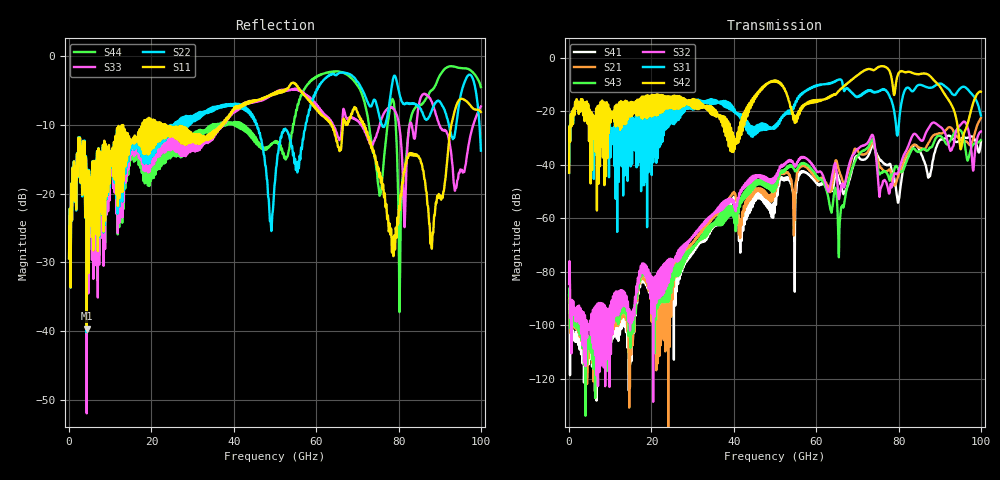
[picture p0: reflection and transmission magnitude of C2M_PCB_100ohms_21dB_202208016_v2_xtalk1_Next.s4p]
! Info: Touchstone file created by Circ.  Input file=Intel_C2M_200G_8p0in_202208016_staggered.circ
# Hz S RI R 50
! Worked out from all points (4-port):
!   10000 points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, 10 MHz to 100 GHz, reference 50 ohm
!   strongest paths, dB at 10 MHz, 25.01 GHz, 50.01 GHz, 75.01 GHz, 100 GHz:
!     S42: -42.9, -15.0, -8.3, -3.4, -12.6
!     S31: -43.0, -18.1, -25.7, -12.5, -21.5
!     S32: -84.5, -75.3, -44.6, -45.1, -27.5
!     S43: -88.7, -78.4, -48.3, -41.3, -30.7
!     S21: -89.0, -77.1, -48.5, -38.3, -22.5
!     S41: -90.6, -78.3, -53.5, -36.7, -31.5
!   lowest |S11| = -39.6 dB at 4.29 GHz (marker M1), VSWR 1.02, Z = 50.5 - j0.944 ohm
!   |S11| at or under -10 dB: start of sweep to 17.85 GHz; 23.38 GHz to 36.94 GHz (13.55 GHz wide, 44.9 % of centre); 71.69 GHz to 92.82 GHz (21.14 GHz wide, 25.7 % of centre)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
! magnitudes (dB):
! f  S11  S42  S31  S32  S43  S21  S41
! 10 MHz  -29.4  -42.9  -43.0  -84.5  -88.7  -89.0  -90.6
! 4.29 GHz  -39.6  -16.3  -17.8  -101.0  -107.7  -105.8  -111.5
! 40.29 GHz  -7.7  -31.3  -20.5  -54.7  -57.3  -50.8  -52.8
! 73.49 GHz  -13.2  -4.3  -12.2  -28.9  -30.6  -31.7  -33.2
! 76.19 GHz  -18.8  -3.0  -11.6  -46.3  -42.6  -41.9  -39.0
! 95.19 GHz  -6.2  -33.9  -11.1  -24.8  -27.3  -30.8  -30.1
! 100 GHz  -8.1  -12.6  -21.5  -27.5  -30.7  -22.5  -31.5
